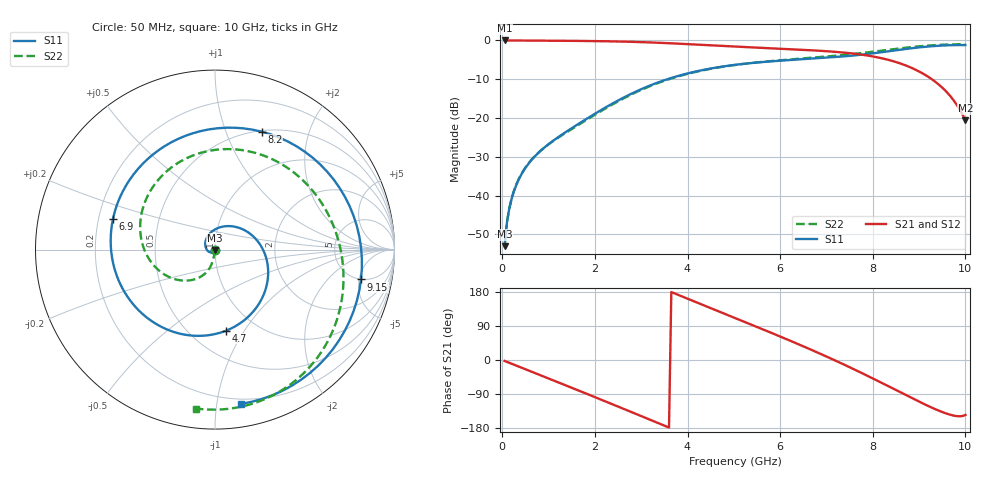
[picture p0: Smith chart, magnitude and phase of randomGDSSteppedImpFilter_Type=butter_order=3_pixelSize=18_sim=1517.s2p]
! freq	dB(S11)	phase(S11)	dB(S12)	phase(S12)
!  dB(S21)	phase(S21)	dB(S22)	phase(S22)
!S-par simulation data
#  GHz  S  DB  R 50
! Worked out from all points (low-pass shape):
!   200 points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, 50 MHz to 10 GHz, reference 50 ohm
!   highest |S21| = 0.00 dB at 50 MHz (marker M1); lowest = -20.6 dB at 10 GHz (marker M2)
!   |S21| within 3 dB of the highest: start of sweep to 7.255 GHz
!   lowest |S11| = -53.0 dB at 50 MHz (marker M3), VSWR 1.00, Z = 50 - j0.223 ohm
!   |S11| at or under -10 dB: start of sweep to 3.565 GHz
!   |S22| runs from -52.9 to -1.0 dB; largest |S21 - S12| = 0
!   S11 on the Smith chart (normalised r, x): 50 MHz: 1.00, -0.00; 4.7 GHz: 0.73, -0.84; 6.9 GHz: 0.26, +0.14; 8.2 GHz: 0.51, +1.34; 9.15 GHz: 4.98, -5.33; 10 GHz: 0.16, -1.17
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0.05  -53.03 -92.3  -0.00 -2.5  -0.00 -2.5  -52.94 -88.5
0.1  -46.98 -97.3  -0.01 -4.9  -0.01 -4.9  -46.89 -89.6
0.2  -40.89 -106.3  -0.02 -9.8  -0.02 -9.8  -40.78 -90.9
0.45  -33.77 -129.0  -0.03 -22.0  -0.03 -22.0  -33.63 -94.4
1.15  -25.41 165.9  -0.07 -56.1  -0.07 -56.1  -25.51 -100.6
1.75  -20.73 110.4  -0.13 -85.6  -0.13 -85.6  -20.98 -103.8
2.5  -15.48 49.3  -0.27 -122.9  -0.27 -122.9  -15.69 -116.5
3.4  -10.67 -10.9  -0.61 -168.2  -0.61 -168.2  -10.81 -146.4
4  -8.51 -45.4  -0.94 161.8  -0.94 161.8  -8.61 -171.8
4.7  -6.83 -81.9  -1.38 127.0  -1.38 127.0  -6.89 155.6
5.05  -6.25 -99.3  -1.59 109.6  -1.59 109.6  -6.28 138.4
5.85  -5.34 -138.8  -2.05 69.6  -2.05 69.6  -5.27 98.0
6.7  -4.69 175.5  -2.55 25.5  -2.55 25.5  -4.44 54.9
6.9  -4.53 163.4  -2.69 14.7  -2.69 14.7  -4.24 45.1
7.5  -3.98 123.2  -3.28 -19.0  -3.28 -19.0  -3.59 16.7
7.9  -3.47 92.8  -3.92 -42.6  -3.92 -42.6  -3.06 -1.4
8.2  -3.02 68.4  -4.61 -60.9  -4.61 -60.9  -2.62 -14.7
8.35  -2.78 55.9  -5.05 -70.1  -5.05 -70.1  -2.40 -21.4
8.8  -2.07 17.8  -6.87 -97.9  -6.87 -97.9  -1.76 -41.7
9.15  -1.62 -11.5  -9.02 -118.7  -9.02 -118.7  -1.36 -57.7
9.55  -1.28 -44.2  -12.74 -139.6  -12.74 -139.6  -1.08 -76.1
10  -1.19 -80.5  -20.61 -144.9  -20.61 -144.9  -1.00 -96.8
